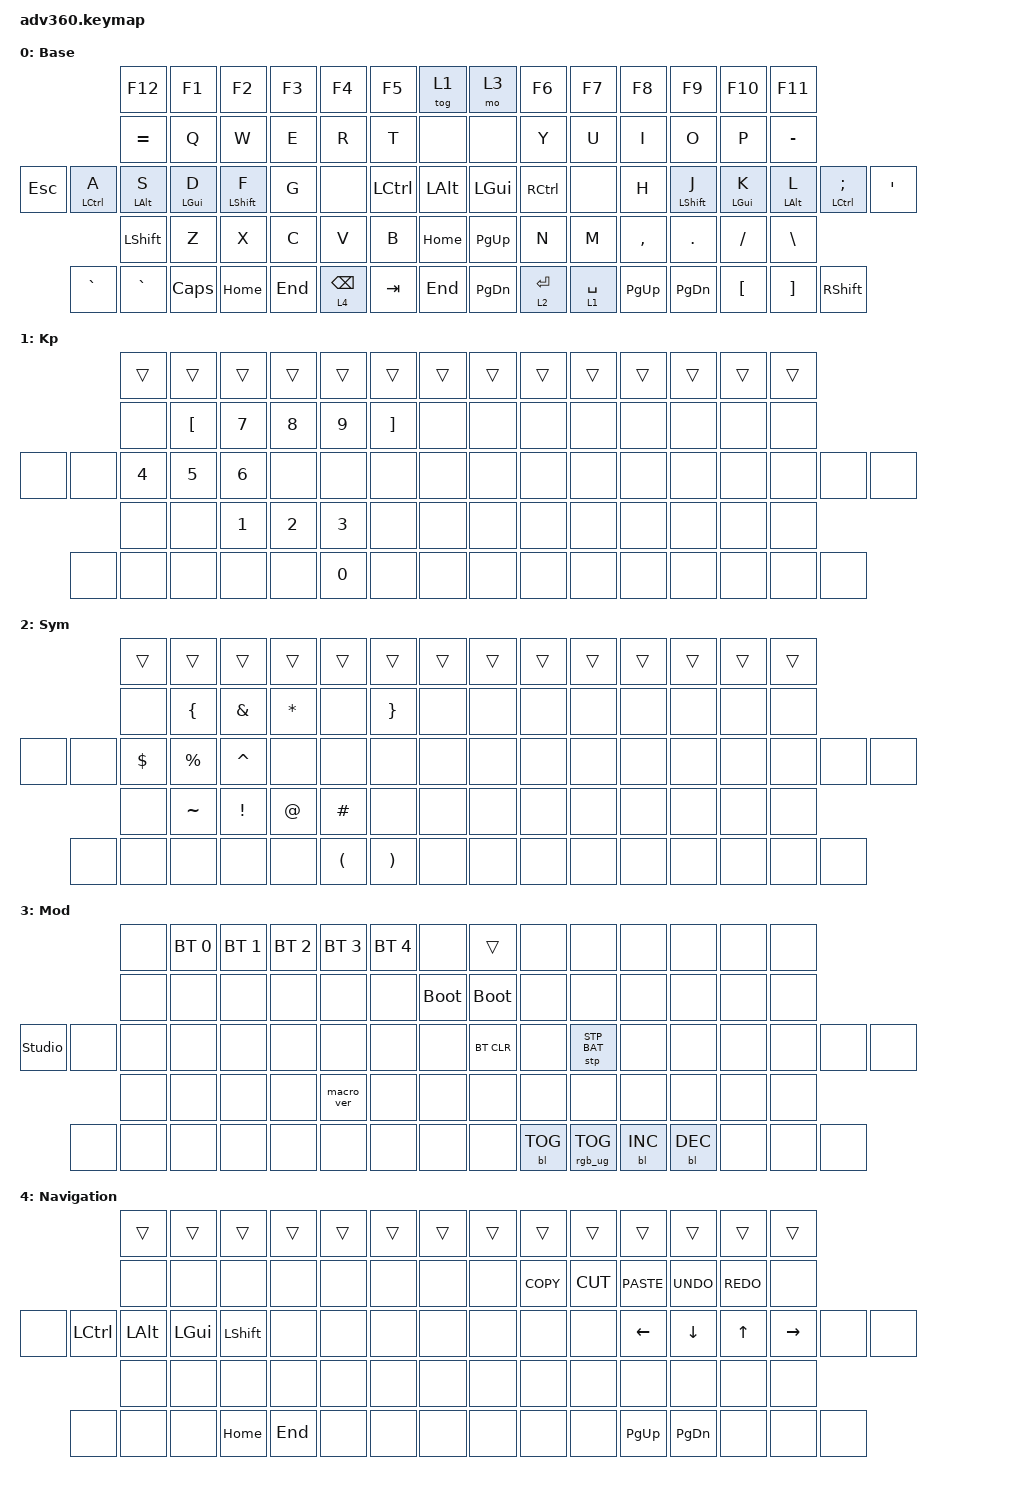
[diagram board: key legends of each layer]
#include <behaviors.dtsi>
#include <dt-bindings/zmk/keys.h>
#include <dt-bindings/zmk/bt.h>
#include <dt-bindings/zmk/rgb.h>
#include <dt-bindings/zmk/stp.h>
#include <dt-bindings/zmk/backlight.h>
#include <dt-bindings/zmk/pointing.h>
#include <zmk-helpers/helper.h>
#include <zmk-helpers/key-labels/adv360.h>
#define KEYS_L LN0 LN1 LN2 LN3 LN4 LN5 LT0 LT1 LT2 LT3 LT4 LT5 LM0 LM1 LM2 LM3 LM4 LM5 LB0 LB1 LB2 LB3 LB4 LB5 
#define KEYS_R RN0 RN1 RN2 RN3 RN4 RN5 RT0 RT1 RT2 RT3 RT4 RT5 RM0 RM1 RM2 RM3 RM4 RM5 RB0 RB1 RB2 RB3 RB4 RB5 
#define THUMBS LH0 LH1 RH0 RH1

#define QUICK_TAP_MS 175

#define MAKE_HRM(NAME, HOLD, TAP, TRIGGER_POS)                                 \
  ZMK_HOLD_TAP(NAME, bindings = <HOLD>, <TAP>; flavor = "balanced";            \
               tapping-term-ms = <280>; quick-tap-ms = <QUICK_TAP_MS>;         \
               require-prior-idle-ms = <150>; hold-trigger-on-release;         \
               hold-trigger-key-positions = <TRIGGER_POS>;)

MAKE_HRM(hml, &kp, &kp, KEYS_R THUMBS) // Left-hand HRMs.
MAKE_HRM(hmr, &kp, &kp, KEYS_L THUMBS) // Right-hand HRMs.

/ {
    combos {
        compatible = "zmk,combos";
        combo_enterright {
            timeout-ms = <50>;
            key-positions = <41 42>;
            bindings = <&kp ENTER>;
        };
        combo_enterleft {
            timeout-ms = <50>;
            key-positions = <31 32>;
            bindings = <&kp ESC>;
        };
    };    
    
    behaviors {
      #include "macros.dtsi"
      #include "version.dtsi"

      hm: homerow_mods {
          compatible = "zmk,behavior-hold-tap";
          label = "HOMEROW_MODS";
          #binding-cells = <2>;
          tapping-term-ms = <200>;
          quick_tap_ms = <175>;
          flavor = "tap-preferred";
          bindings = <&kp>, <&kp>;
      };
    };

  keymap {
    compatible = "zmk,keymap";
    default_layer {
      display-name = "Base";
      bindings = <
        &kp F12   &kp F1    &kp F2   &kp F3   &kp F4     &kp F5 &tog 1                                                           &mo 3 &kp F6 &kp F7 &kp F8    &kp F9   &kp F10   &kp F11 
        &kp EQUAL &kp Q     &kp W    &kp E    &kp R      &kp T  &none                                                            &none &kp Y  &kp U  &kp I     &kp O    &kp P    &kp MINUS
        &kp ESC   &hml LCTRL A     &hml LALT S    &hml LGUI D    &hml LSHFT F      &kp G  &none           &kp LCTRL &kp LALT &kp LGUI  &kp RCTRL           &none &kp H  &hml LSHFT J  &hml LGUI K     &hml LALT L    &hml LCTRL SEMI &kp SQT
        &kp LSHFT &kp Z     &kp X    &kp C    &kp V      &kp B                            &kp HOME &kp PG_UP                           &kp N  &kp M  &kp COMMA &kp DOT  &kp FSLH &kp BSLH
        &kp GRAVE &kp GRAVE &kp CAPS &kp HOME &kp END                &lt 4 BSPC &kp TAB   &kp END  &kp PG_DN &lt 2 ENTER &lt 1 SPACE              &kp PG_UP &kp PG_DN  &kp LBKT &kp RBKT &kp RSHFT
      >;
    };
    keypad {
      display-name = "Kp";
      bindings = <
        &trans &trans    &trans   &trans   &trans     &trans &trans                                                           &trans &trans &trans &trans &trans &trans &trans
        &none   &kp LBKT     &kp N7    &kp N8    &kp N9      &kp RBKT  &none                                                            &none &none  &none  &none    &none     &none    &none
        &none   &none     &kp N4    &kp N5    &kp N6      &none  &none           &none &none &none  &none           &none &none  &none  &none    &none     &none     &none
        &none &none     &kp N1    &kp N2    &kp N3      &none                            &none &none                           &none  &none  &none    &none     &none    &none
        &none     &none &none &none &none                &kp N0 &none   &none  &none &none &none              &none     &none     &none    &none        &none
      >;
    };
    sym {
      display-name = "Sym";
      bindings = <
        &trans &trans &trans &trans &trans &trans &trans                                           &trans &trans &trans &trans &trans &trans &trans
        &none &kp LBRC &kp AMPS &kp STAR &none &kp RBRC  &none                                           &none &none &none &none &none  &none  &none
        &none &none &kp DOLLAR &kp PERCENT &kp CARET &none  &none        &none &none &none &none        &none &none &none &none &none  &none  &none
        &none &kp TILDE &kp EXCL &kp AT &kp HASH &none                      &none &none                     &none &none &none &none  &none  &none
        &none &none &none &none &none               &kp LPAR &kp RPAR &none &none &none &none              &none &none &none  &none  &none
      >;
    };
    mod {
      display-name = "Mod";
      bindings = <
        &none &bt BT_SEL 0 &bt BT_SEL 1 &bt BT_SEL 2 &bt BT_SEL 3 &bt BT_SEL 4 &none                                                                     &trans                 &none        &none        &none        &none &none &none
        &none &none        &none        &none        &none        &none        &bootloader                                                               &bootloader            &none        &none        &none        &none &none &none
        &studio_unlock &none        &none        &none        &none        &none        &none                   &none &none &bt BT_CLR &none                      &stp STP_BAT &none        &none        &none        &none &none &none
        &none &none        &none        &none        &macro_ver   &none                                      &none &none                                                        &none        &none        &none        &none &none &none
        &none &none        &none        &none        &none                                       &none &none &none &none      &bl BL_TOG &rgb_ug RGB_TOG                                     &bl BL_INC   &bl BL_DEC   &none &none &none
      >;
    };
    navigation {
      display-name = "Navigation";
      bindings = <
        &trans &trans &trans &trans &trans &trans &trans                                           &trans &trans &trans &trans &trans &trans &trans
        &none &none     &none    &none    &none      &none  &none                                                            &none &kp K_COPY   &kp K_CUT  &kp K_PASTE     &kp K_UNDO    &kp K_REDO    &none
        &none   &kp LCTRL &kp LALT &kp LGUI &kp LSHFT  &none  &none           &none &none &none &none &none   &kp LEFT  &kp DOWN &kp UP &kp RIGHT &none &none
        &none &none     &none    &none    &none      &none                            &none &none &none  &none  &none &none &none &none
        &none &none &none &kp HOME &kp END                &none &none   &none  &none &none &none              &kp PG_UP &kp PG_DN  &none &none &none
      >;
    };
    extra1 { 
      display-name = "Red";    
      status = "reserved";
    };

    extra2 { 
      display-name = "Purple";    
      status = "reserved";
    };

    extra3 { 
      display-name = "Cyan";    
      status = "reserved";
    };

    extra4 { 
      display-name = "Yellow";    
      status = "reserved";
    };
  };
};
